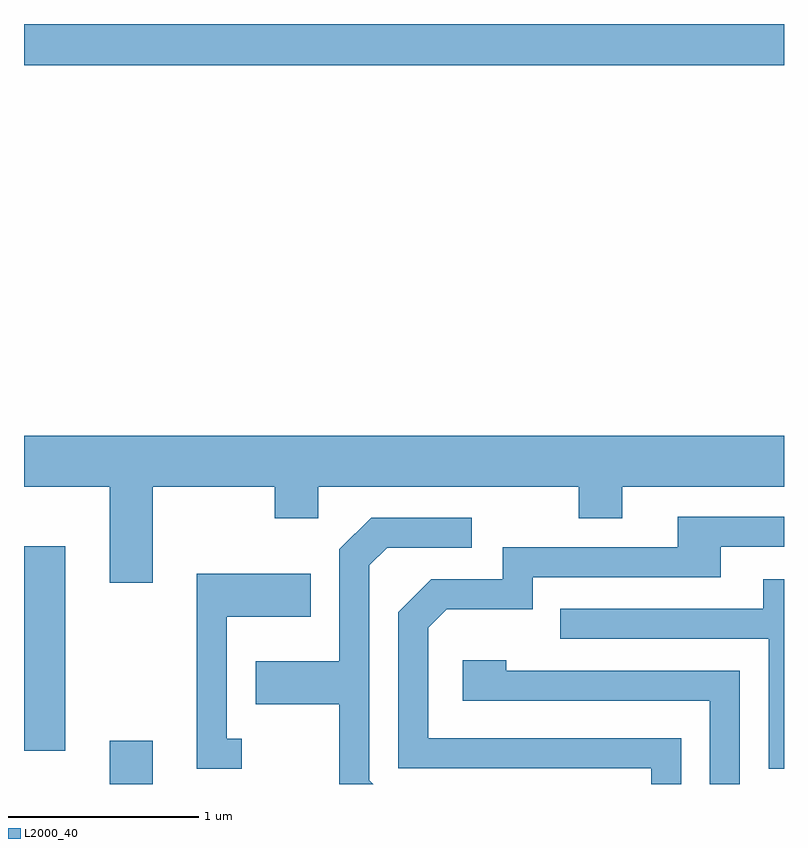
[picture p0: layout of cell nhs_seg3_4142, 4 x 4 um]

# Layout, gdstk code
import gdstk
lib = gdstk.Library(unit=1e-6, precision=1e-09)
def R(c, l, rs):  # rectangles x0, y0, x1, y1
    for r in rs: c.add(gdstk.rectangle(r[:2], r[2:], *l))
def P(c, l, *ps):  # polygons
    for p in ps: c.add(gdstk.Polygon(p, *l))
L2000_40 = (2000, 40)

nhs_seg3_4142 = lib.new_cell('nhs_seg3_4142')
R(nhs_seg3_4142, L2000_40, [(306.061,1239.892,306.289,1240.119), (305.611,1240.066,305.829,1241.144), (305.611,1243.676,309.611,1243.892)])
P(nhs_seg3_4142, L2000_40, [(306.289,1241.456),(306.931,1241.456),(306.931,1241.291),(307.159,1241.291),(307.159,1241.456),(308.531,1241.456),(308.531,1241.291),(308.759,1241.291),(308.759,1241.456),(309.611,1241.456),(309.611,1241.724),(305.611,1241.724),(305.611,1241.456),(306.061,1241.456),(306.061,1240.951),(306.289,1240.951)],
  [(309.069,1240.134),(307.739,1240.134),(307.739,1240.714),(307.837,1240.811),(308.289,1240.811),(308.289,1240.981),(309.279,1240.981),(309.279,1241.141),(309.611,1241.141),(309.611,1241.299),(309.051,1241.299),(309.051,1241.139),(308.131,1241.139),(308.131,1240.969),(307.754,1240.969),(307.581,1240.797),(307.581,1239.976),(308.911,1239.976),(308.911,1239.892),(309.069,1239.892)],
  [(307.429,1239.912),(307.429,1241.044),(307.522,1241.136),(307.968,1241.136),(307.968,1241.294),(307.439,1241.294),(307.271,1241.127),(307.271,1240.539),(306.831,1240.539),(306.831,1240.311),(307.271,1240.311),(307.271,1239.892),(307.449,1239.892)],
  [(306.758,1240.129),(306.679,1240.129),(306.679,1240.771),(307.119,1240.771),(307.119,1240.999),(306.521,1240.999),(306.521,1239.971),(306.758,1239.971)],
  [(309.611,1240.969),(309.501,1240.969),(309.501,1240.814),(308.433,1240.814),(308.433,1240.656),(309.531,1240.656),(309.531,1239.971),(309.611,1239.971)],
  [(309.379,1240.489),(308.149,1240.489),(308.149,1240.544),(307.921,1240.544),(307.921,1240.331),(309.221,1240.331),(309.221,1239.892),(309.379,1239.892)])

lib.write_gds('nhs_seg3_4142.gds')
